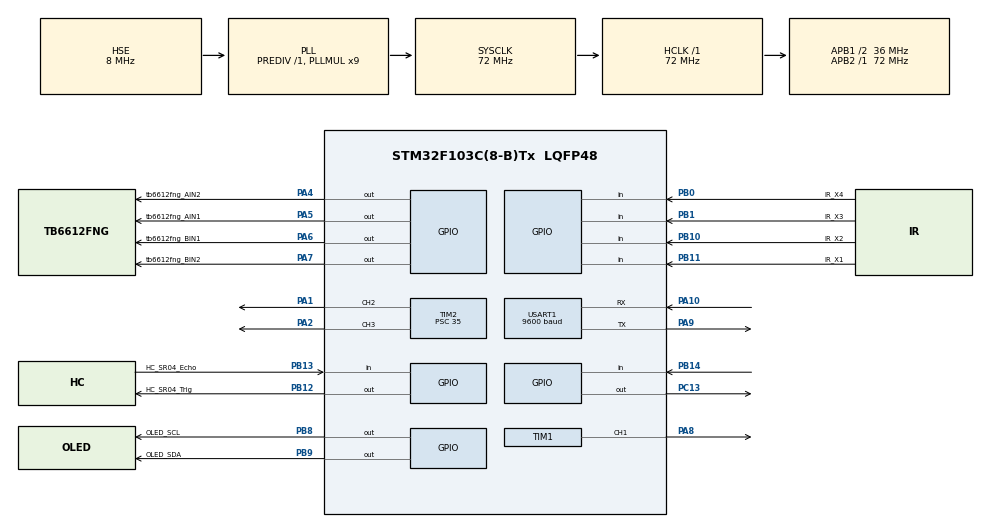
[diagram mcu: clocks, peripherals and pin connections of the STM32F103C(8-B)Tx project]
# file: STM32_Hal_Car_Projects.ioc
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Mcu.Family=STM32F1
Mcu.Name=STM32F103C(8-B)Tx
Mcu.Package=LQFP48
NVIC.PriorityGroup=NVIC_PRIORITYGROUP_4
NVIC.USART1_IRQn=true\:0\:0\:false\:false\:true\:true\:true\:true
PA1.GPIO_Speed=GPIO_SPEED_FREQ_HIGH
PA1.Signal=S_TIM2_CH2
PA10.GPIO_PuPd=GPIO_PULLUP
PA10.Mode=Asynchronous
PA10.Signal=USART1_RX
PA13.Mode=Serial_Wire
PA13.Signal=SYS_JTMS-SWDIO
PA14.Mode=Serial_Wire
PA14.Signal=SYS_JTCK-SWCLK
PA2.GPIO_Speed=GPIO_SPEED_FREQ_HIGH
PA2.Signal=S_TIM2_CH3
PA4.GPIO_Label=tb6612fng_AIN2
PA4.GPIO_ModeDefaultOutputPP=GPIO_MODE_OUTPUT_PP
PA4.Signal=GPIO_Output
PA5.GPIO_Label=tb6612fng_AIN1
PA5.GPIO_ModeDefaultOutputPP=GPIO_MODE_OUTPUT_PP
PA5.Signal=GPIO_Output
PA6.GPIO_Label=tb6612fng_BIN1
PA6.GPIO_ModeDefaultOutputPP=GPIO_MODE_OUTPUT_PP
PA6.Signal=GPIO_Output
PA7.GPIO_Label=tb6612fng_BIN2
PA7.GPIO_ModeDefaultOutputPP=GPIO_MODE_OUTPUT_PP
PA7.Signal=GPIO_Output
PA8.GPIO_Speed=GPIO_SPEED_FREQ_HIGH
PA8.Signal=S_TIM1_CH1
PA9.Mode=Asynchronous
PA9.Signal=USART1_TX
PB0.GPIO_Label=IR_X4
PB0.GPIO_PuPd=GPIO_PULLUP
PB0.Signal=GPIO_Input
PB1.GPIO_Label=IR_X3
PB1.GPIO_PuPd=GPIO_PULLUP
PB1.Signal=GPIO_Input
PB10.GPIO_Label=IR_X2
PB10.GPIO_PuPd=GPIO_PULLUP
PB10.Signal=GPIO_Input
PB11.GPIO_Label=IR_X1
PB11.GPIO_PuPd=GPIO_PULLUP
PB11.Signal=GPIO_Input
PB12.GPIO_Label=HC_SR04_Trig
PB12.Signal=GPIO_Output
PB13.GPIO_Label=HC_SR04_Echo
PB13.GPIO_PuPd=GPIO_PULLDOWN
PB13.Signal=GPIO_Input
PB14.GPIO_PuPd=GPIO_PULLDOWN
PB14.Signal=GPIO_Input
PB8.GPIO_Label=OLED_SCL
PB8.GPIO_ModeDefaultOutputPP=GPIO_MODE_OUTPUT_OD
PB8.GPIO_PuPd=GPIO_PULLUP
PB8.PinState=GPIO_PIN_SET
PB8.Signal=GPIO_Output
PB9.GPIO_Label=OLED_SDA
PB9.GPIO_ModeDefaultOutputPP=GPIO_MODE_OUTPUT_OD
PB9.GPIO_PuPd=GPIO_PULLUP
PB9.PinState=GPIO_PIN_SET
PB9.Signal=GPIO_Output
PC13-TAMPER-RTC.GPIO_ModeDefaultOutputPP=GPIO_MODE_OUTPUT_OD
PC13-TAMPER-RTC.GPIO_PuPd=GPIO_PULLUP
PC13-TAMPER-RTC.Signal=GPIO_Output
PD0-OSC_IN.Mode=HSE-External-Oscillator
PD0-OSC_IN.Signal=RCC_OSC_IN
PD1-OSC_OUT.Mode=HSE-External-Oscillator
PD1-OSC_OUT.Signal=RCC_OSC_OUT
ProjectManager.HeapSize=0x200
ProjectManager.StackSize=0x400
ProjectManager.TargetToolchain=CMake
RCC.AHBFreq_Value=72000000
RCC.APB1CLKDivider=RCC_HCLK_DIV2
RCC.APB1Freq_Value=36000000
RCC.APB1TimFreq_Value=72000000
RCC.APB2Freq_Value=72000000
RCC.APB2TimFreq_Value=72000000
RCC.HCLKFreq_Value=72000000
RCC.PLLMUL=RCC_PLL_MUL9
RCC.PLLSourceVirtual=RCC_PLLSOURCE_HSE
RCC.SYSCLKFreq_VALUE=72000000
RCC.SYSCLKSource=RCC_SYSCLKSOURCE_PLLCLK
RCC.USBFreq_Value=72000000
SH.S_TIM1_CH1.0=TIM1_CH1,PWM Generation1 CH1
SH.S_TIM2_CH2.0=TIM2_CH2,PWM Generation2 CH2
SH.S_TIM2_CH3.0=TIM2_CH3,PWM Generation3 CH3
TIM1.AutoReloadPreload=TIM_AUTORELOAD_PRELOAD_ENABLE
TIM1.Channel-PWM\ Generation1\ CH1=TIM_CHANNEL_1
TIM1.Period=19999
TIM1.Prescaler=71
TIM1.Pulse-PWM\ Generation1\ CH1=1500
TIM2.Channel-PWM\ Generation2\ CH2=TIM_CHANNEL_2
TIM2.Channel-PWM\ Generation3\ CH3=TIM_CHANNEL_3
TIM2.Period=99
TIM2.Prescaler=35
TIM4.Period=59999
TIM4.Prescaler=71
USART1.BaudRate=9600
USART1.VirtualMode=VM_ASYNC
VP_TIM1_VS_ClockSourceINT.Mode=Internal
VP_TIM2_VS_ClockSourceINT.Mode=Internal
VP_TIM4_VS_ClockSourceINT.Mode=Internal
board=custom

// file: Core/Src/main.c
/* USER CODE BEGIN Header */
/**
  ******************************************************************************
  * @file           : main.c
  * @brief          : Main program body
  ******************************************************************************
  * @attention
  *
  * Copyright (c) 2026 STMicroelectronics.
  * All rights reserved.
  *
  * This software is licensed under terms that can be found in the LICENSE file
  * in the root directory of this software component.
  * If no LICENSE file comes with this software, it is provided AS-IS.
  *
  ******************************************************************************
  */
/* USER CODE END Header */
#include "main.h"
#include "tim.h"
#include "usart.h"
#include "gpio.h"

/* USER CODE BEGIN Includes */
#include "Delay.h"
#include "OLED.h"
#include "PWM.h"
#include "Motor.h"
#include "Servo.h"
#include "Serial.h"
#include "HC_SR04.h"
#include "Car.h"
#include "BlueToothCtrl.h"
#include "IR_Line_Track.h"
/* USER CODE END Includes */

/* USER CODE BEGIN PV */
enum Mode{BlueTooth = 1, RedTrack = 2, Auto_avoid = 3, Stop = 4};   //枚举模式

uint8_t modeChoose = 0;  //当前模式
/* USER CODE END PV */

void SystemClock_Config(void);

int main(void)
{

  /* MCU Configuration--------------------------------------------------------*/

  /* Reset of all peripherals, Initializes the Flash interface and the Systick. */
  HAL_Init();

  /* Configure the system clock */
  SystemClock_Config();

  /* Initialize all configured peripherals */
  MX_GPIO_Init();
  MX_TIM1_Init();
  MX_TIM2_Init();
  MX_TIM4_Init();
  MX_USART1_UART_Init();
  /* USER CODE BEGIN 2 */
  Delay_Init();
  Serial_Init();
  OLED_Init();

  Motor_Init();
  Servo_Init();
  HC_SR04_Init();

  /* USER CODE END 2 */

  /* Infinite loop */
  /* USER CODE BEGIN WHILE */
  while (1)
  {
    if(Serial_RxData == 'A')
    {
      modeChoose = BlueTooth;
    }
    else if (Serial_RxData == 'B')
    {
      modeChoose = RedTrack;
    }
    else if(Serial_RxData == 'C')
    {
      modeChoose = Auto_avoid;
    }
    else if(Serial_RxData == 'S')
    {
      modeChoose = Stop;
    }
    /*===蓝牙控制模式*/
    if(modeChoose == BlueTooth)
    {
      BTControl();
      OLED_ShowString(1, 1, "BlueTooth     ");
    }
    /*===红外循迹模式===*/
    else if(modeChoose == RedTrack)
    {
      IR_Line_follow();
      OLED_ShowString(1, 1, "RedTrack      ");
    }
    /*===自动避障模式===*/
    else if(modeChoose == Auto_avoid)
    {
      float distance = Get_Distance_cm();

      Auto_Run(distance);
      if(distance < 0.0f) distance = 999;

      OLED_ShowString(1, 1, "Auto_avoid    ");
      OLED_ShowNum(3, 1, (uint32_t)distance, 3);
      Serial_SendNumber((uint32_t)distance);
      Serial_SendString("\r\n");
    }
    else if(modeChoose == Stop)
    {
      Car_Stop();
      OLED_ShowString(1, 1, "Stop          ");
    }
    Delay_ms(20);
    /* USER CODE END WHILE */

  }
}

void SystemClock_Config(void)
{
  RCC_OscInitTypeDef RCC_OscInitStruct = {0};
  RCC_ClkInitTypeDef RCC_ClkInitStruct = {0};

  /** Initializes the RCC Oscillators according to the specified parameters
  * in the RCC_OscInitTypeDef structure.
  */
  RCC_OscInitStruct.OscillatorType = RCC_OSCILLATORTYPE_HSE;
  RCC_OscInitStruct.HSEState = RCC_HSE_ON;
  RCC_OscInitStruct.HSEPredivValue = RCC_HSE_PREDIV_DIV1;
  RCC_OscInitStruct.HSIState = RCC_HSI_ON;
  RCC_OscInitStruct.PLL.PLLState = RCC_PLL_ON;
  RCC_OscInitStruct.PLL.PLLSource = RCC_PLLSOURCE_HSE;
  RCC_OscInitStruct.PLL.PLLMUL = RCC_PLL_MUL9;
  if (HAL_RCC_OscConfig(&RCC_OscInitStruct) != HAL_OK)
  {
    Error_Handler();
  }

  /** Initializes the CPU, AHB and APB buses clocks
  */
  RCC_ClkInitStruct.ClockType = RCC_CLOCKTYPE_HCLK|RCC_CLOCKTYPE_SYSCLK
                              |RCC_CLOCKTYPE_PCLK1|RCC_CLOCKTYPE_PCLK2;
  RCC_ClkInitStruct.SYSCLKSource = RCC_SYSCLKSOURCE_PLLCLK;
  RCC_ClkInitStruct.AHBCLKDivider = RCC_SYSCLK_DIV1;
  RCC_ClkInitStruct.APB1CLKDivider = RCC_HCLK_DIV2;
  RCC_ClkInitStruct.APB2CLKDivider = RCC_HCLK_DIV1;

  if (HAL_RCC_ClockConfig(&RCC_ClkInitStruct, FLASH_LATENCY_2) != HAL_OK)
  {
    Error_Handler();
  }
}

void Error_Handler(void)
{
  __disable_irq();
  while (1)
  {
  }
}
